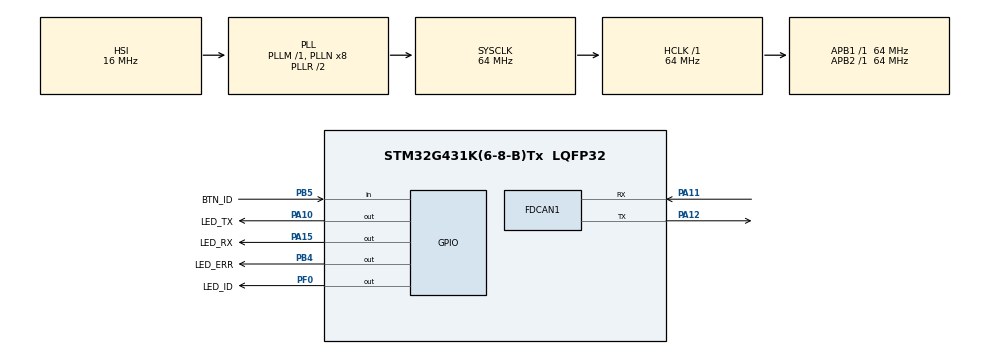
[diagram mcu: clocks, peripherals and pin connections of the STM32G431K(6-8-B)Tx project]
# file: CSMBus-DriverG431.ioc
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FDCAN1.AutoRetransmission=ENABLE
FDCAN1.CalculateBaudRateNominal=1000000
FDCAN1.CalculateTimeBitNominal=1000
FDCAN1.CalculateTimeQuantumNominal=62.5
FDCAN1.DataTimeSeg1=1
FDCAN1.DataTimeSeg2=1
FDCAN1.NominalPrescaler=4
FDCAN1.NominalTimeSeg1=12
FDCAN1.NominalTimeSeg2=3
FDCAN1.StdFiltersNbr=2
FDCAN1.TransmitPause=ENABLE
Mcu.Family=STM32G4
Mcu.Name=STM32G431K(6-8-B)Tx
Mcu.Package=LQFP32
NVIC.FDCAN1_IT0_IRQn=true\:0\:0\:false\:false\:true\:true\:true\:true
NVIC.FDCAN1_IT1_IRQn=true\:0\:0\:false\:false\:true\:true\:true\:true
NVIC.PriorityGroup=NVIC_PRIORITYGROUP_4
NVIC.TIM7_IRQn=true\:0\:0\:false\:false\:true\:true\:true\:true
PA10.GPIO_Label=LED_TX
PA10.Signal=GPIO_Output
PA11.GPIO_Speed=GPIO_SPEED_FREQ_HIGH
PA11.Mode=FDCAN_Activate
PA11.Signal=FDCAN1_RX
PA12.GPIO_Speed=GPIO_SPEED_FREQ_HIGH
PA12.Mode=FDCAN_Activate
PA12.Signal=FDCAN1_TX
PA13.Mode=Serial_Wire
PA13.Signal=SYS_JTMS-SWDIO
PA14.Mode=Serial_Wire
PA14.Signal=SYS_JTCK-SWCLK
PA15.GPIO_Label=LED_RX
PA15.Signal=GPIO_Output
PB4.GPIO_Label=LED_ERR
PB4.Signal=GPIO_Output
PB5.GPIO_Label=BTN_ID
PB5.GPIO_PuPd=GPIO_PULLUP
PB5.Signal=GPIO_Input
PF0-OSC_IN.GPIO_Label=LED_ID
PF0-OSC_IN.Signal=GPIO_Output
ProjectManager.HeapSize=0x200
ProjectManager.StackSize=0x400
ProjectManager.TargetToolchain=STM32CubeIDE
RCC.ADC12Freq_Value=64000000
RCC.AHBFreq_Value=64000000
RCC.APB1Freq_Value=64000000
RCC.APB1TimFreq_Value=64000000
RCC.APB2Freq_Value=64000000
RCC.APB2TimFreq_Value=64000000
RCC.CortexFreq_Value=64000000
RCC.EXTERNAL_CLOCK_VALUE=12288000
RCC.HCLKFreq_Value=64000000
RCC.HSE_VALUE=8000000
RCC.HSI48_VALUE=48000000
RCC.HSI_VALUE=16000000
RCC.LSE_VALUE=32768
RCC.SYSCLKFreq_VALUE=64000000
RCC.SYSCLKSource=RCC_SYSCLKSOURCE_PLLCLK
RCC.USBFreq_Value=64000000
RCC.VCOOutputFreq_Value=128000000
TIM7.PeriodNoDither=1000
TIM7.Prescaler=64-1
VP_TIM7_VS_ClockSourceINT.Mode=Enable_Timer
board=custom

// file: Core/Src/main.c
/* USER CODE BEGIN Header */
/**
  ******************************************************************************
  * @file           : main.c
  * @brief          : Main program body
  ******************************************************************************
  * @attention
  *
  * Copyright (c) 2023 STMicroelectronics.
  * All rights reserved.
  *
  * This software is licensed under terms that can be found in the LICENSE file
  * in the root directory of this software component.
  * If no LICENSE file comes with this software, it is provided AS-IS.
  *
  ******************************************************************************
  */
/* USER CODE END Header */
#include "main.h"
#include "fdcan.h"
#include "tim.h"
#include "gpio.h"

/* USER CODE BEGIN Includes */
#include "can_csmbus/can_csmbus.hpp"
#include "user_task.h"

/* USER CODE END Includes */

void SystemClock_Config(void);

/* USER CODE BEGIN 0 */
void HAL_TIM_PeriodElapsedCallback(TIM_HandleTypeDef *htim)
{
  __CCTimer_interrupt(htim);
}
/* USER CODE END 0 */

int main(void)
{

  /* MCU Configuration--------------------------------------------------------*/

  /* Reset of all peripherals, Initializes the Flash interface and the Systick. */
  HAL_Init();

  /* Configure the system clock */
  SystemClock_Config();

  /* USER CODE BEGIN SysInit */
  MX_GPIO_Init();
  CCId_init();
  /* USER CODE END SysInit */

  /* Initialize all configured peripherals */
  MX_GPIO_Init();
  MX_FDCAN1_Init();
  MX_TIM7_Init();
  /* USER CODE BEGIN 2 */
  CCLed_init();
  CCTimer_init();
  CCIo_init();
  UserTask_setup();
  /* USER CODE END 2 */

  /* Infinite loop */
  /* USER CODE BEGIN WHILE */
  while (1)
  {
    CCType_bool_t is_safety_on = CCIo_isSafetyOn();
    if(is_safety_on == 0)
    {
      UserTask_loop();
    }else{
      UserTask_unsafeLoop();
    }

    CCLed_process(is_safety_on);
    CCId_process(is_safety_on);
    CCIo_process();
    /* USER CODE END WHILE */

  }
}

void SystemClock_Config(void)
{
  RCC_OscInitTypeDef RCC_OscInitStruct = {0};
  RCC_ClkInitTypeDef RCC_ClkInitStruct = {0};

  /** Configure the main internal regulator output voltage
  */
  HAL_PWREx_ControlVoltageScaling(PWR_REGULATOR_VOLTAGE_SCALE1);

  /** Initializes the RCC Oscillators according to the specified parameters
  * in the RCC_OscInitTypeDef structure.
  */
  RCC_OscInitStruct.OscillatorType = RCC_OSCILLATORTYPE_HSI;
  RCC_OscInitStruct.HSIState = RCC_HSI_ON;
  RCC_OscInitStruct.HSICalibrationValue = RCC_HSICALIBRATION_DEFAULT;
  RCC_OscInitStruct.PLL.PLLState = RCC_PLL_ON;
  RCC_OscInitStruct.PLL.PLLSource = RCC_PLLSOURCE_HSI;
  RCC_OscInitStruct.PLL.PLLM = RCC_PLLM_DIV1;
  RCC_OscInitStruct.PLL.PLLN = 8;
  RCC_OscInitStruct.PLL.PLLP = RCC_PLLP_DIV2;
  RCC_OscInitStruct.PLL.PLLQ = RCC_PLLQ_DIV2;
  RCC_OscInitStruct.PLL.PLLR = RCC_PLLR_DIV2;
  if (HAL_RCC_OscConfig(&RCC_OscInitStruct) != HAL_OK)
  {
    Error_Handler();
  }

  /** Initializes the CPU, AHB and APB buses clocks
  */
  RCC_ClkInitStruct.ClockType = RCC_CLOCKTYPE_HCLK|RCC_CLOCKTYPE_SYSCLK
                              |RCC_CLOCKTYPE_PCLK1|RCC_CLOCKTYPE_PCLK2;
  RCC_ClkInitStruct.SYSCLKSource = RCC_SYSCLKSOURCE_PLLCLK;
  RCC_ClkInitStruct.AHBCLKDivider = RCC_SYSCLK_DIV1;
  RCC_ClkInitStruct.APB1CLKDivider = RCC_HCLK_DIV1;
  RCC_ClkInitStruct.APB2CLKDivider = RCC_HCLK_DIV1;

  if (HAL_RCC_ClockConfig(&RCC_ClkInitStruct, FLASH_LATENCY_2) != HAL_OK)
  {
    Error_Handler();
  }
}

void Error_Handler(void)
{
  /* USER CODE BEGIN Error_Handler_Debug */
  CCLed_hungUp();
  /* User can add his own implementation to report the HAL error return state */
  __disable_irq();
  while (1)
  {
  }
  /* USER CODE END Error_Handler_Debug */
}
